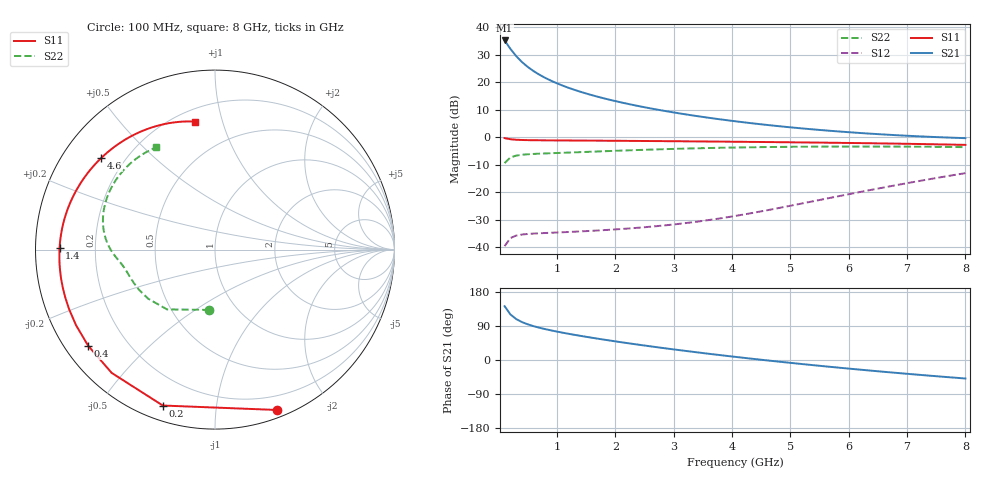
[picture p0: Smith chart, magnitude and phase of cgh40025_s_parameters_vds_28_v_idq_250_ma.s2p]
! AWR Design Environment (8345) Tue Sep 05 14:20:08 2017
! Document = 'SParameters'
! nPorts: 2, nXvals: 80
# HZ S DB R 50
!Freq DBS11 AngS11 DBS21 AngS21 DBS12 AngS12 DBS22 AngS22
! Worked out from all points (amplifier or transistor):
!   80 points, 100 MHz to 8 GHz, reference 50 ohm
!   highest |S21| = 35.1 dB at 100 MHz (marker M1)
!   |S21| within 3 dB of that: start of sweep to 197.8 MHz
!   unconditionally stable (mu >= 1): 3.062 GHz to 5.153 GHz
!   at 1.4 GHz: K = 0.49, MSG = 25.4 dB, |S12| = -34.3 dB
!   at 4.1 GHz: K = 1.10, MAG = 15.2 dB, |S12| = -28.5 dB
!   at 8 GHz: K = 0.73, MSG = 6.4 dB, |S12| = -13.1 dB
!   S11 on the Smith chart (normalised r, x): 100 MHz: 0.07, -1.46; 200 MHz: 0.07, -0.72; 400 MHz: 0.07, -0.34; 1.4 GHz: 0.07, +0.01; 4.6 GHz: 0.12, +0.35; 8 GHz: 0.27, +0.82
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1e8  -0.37 -68.8  35.14 142.0  -39.64 53.6  -9.43 -95.3
2e8  -0.76 -108.5  32.08 120.2  -36.67 33.5  -7.39 -128.7
3e8  -0.95 -129.9  29.41 107.9  -35.78 22.9  -6.70 -143.8
4e8  -1.04 -142.8  27.25 99.9  -35.41 16.6  -6.40 -152.2
5e8  -1.10 -151.4  25.46 93.9  -35.20 12.3  -6.22 -157.4
6e8  -1.13 -157.6  23.96 89.1  -35.06 9.2  -6.11 -160.9
7e8  -1.15 -162.4  22.65 85.0  -34.95 6.8  -6.01 -163.5
8e8  -1.17 -166.2  21.50 81.4  -34.85 4.9  -5.93 -165.5
9e8  -1.18 -169.5  20.47 78.0  -34.76 3.3  -5.85 -167.1
1.1e9  -1.21 -174.7  18.69 71.9  -34.57 0.8  -5.69 -169.6
1.2e9  -1.22 -176.9  17.90 69.1  -34.48 -0.1  -5.61 -170.7
1.4e9  -1.25 179.3  16.49 63.7  -34.28 -1.7  -5.46 -172.5
1.5e9  -1.26 177.6  15.85 61.2  -34.17 -2.3  -5.38 -173.3
1.8e9  -1.30 173.0  14.12 53.8  -33.81 -3.6  -5.13 -175.7
2.1e9  -1.35 168.9  12.61 46.9  -33.40 -4.0  -4.90 -178.0
2.8e9  -1.46 160.5  9.69 32.0  -32.18 -2.2  -4.40 176.2
3.4e9  -1.56 153.9  7.64 20.2  -30.73 1.7  -4.06 170.9
4.1e9  -1.69 146.4  5.64 7.5  -28.49 6.9  -3.76 164.2
4.6e9  -1.79 141.0  4.43 -1.0  -26.58 9.8  -3.61 159.2
5.4e9  -1.97 132.2  2.79 -13.8  -23.27 11.7  -3.46 150.9
6.7e9  -2.33 116.7  0.84 -32.4  -17.91 7.4  -3.43 136.3
8e9  -2.82 99.0  -0.37 -48.8  -13.10 -3.9  -3.65 119.9
